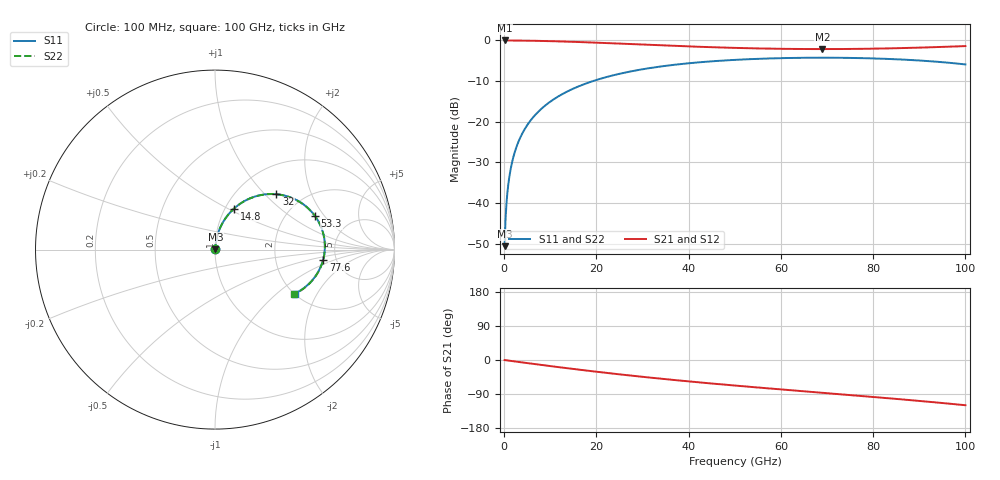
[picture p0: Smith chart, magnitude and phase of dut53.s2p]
! Touchstone file exported from HFSS 2026.1.0
!  File:  C:/ffzhzh/LocalFiles/Ansys_Project_Files/temp_train_RDL_53_1783498350_55944.aedt
!  Generated:  04:13:37 PM Jul  8, 2026
!  Design:  RDL
!  Project:  temp_train_RDL_53_1783498350_55944
! Variables:
!  h_bsmrdl = 2um
!  h_ox = 20um
!  h_rdl = 5um
!  h_sub = 80um
!  h_tmrdl = 3.14um
!  h_tsv = 80um
!  h_via = 3um
!  l_bsmrdl = 300um
!  l_sub = 794.93um
!  l_tmrdl = 394.93um
!  m_sub = 200um
!  pitch = 57.07um
!  r_tsv = 6um
!  s_tmrdl = 10um
!  w_bsmrdl = 18um
!  w_sub = 500um
!  w_tmrdl = 22.53um
!  x_tsv_center1 = 406.195um
!  x_tsv_center2 = 724.195um
!  x_tsv_center3 = 1141.655um
!  x_tsv_center4 = 1459.655um
!  x_tsv_center5 = 1877.115um
!  x_tsv_center6 = 2195.115um
# GHz S MA R 50.000000
! Terminal data exported
! Port[1] = TM_RDL1_1_T1
! Port[2] = TM_RDL1_1_T2
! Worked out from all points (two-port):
!   1000 points, 100 MHz to 100 GHz, reference 50 ohm
!   highest |S21| = -0.02 dB at 100 MHz (marker M1); lowest = -2.1 dB at 69 GHz (marker M2)
!   |S21| within 3 dB of the highest: start of sweep to end of sweep
!   lowest |S11| = -50.6 dB at 100 MHz (marker M3), VSWR 1.01, Z = 50.2 + j0.199 ohm
!   |S11| at or under -10 dB: start of sweep to 19.25 GHz
!   |S22| runs from -50.6 to -4.3 dB; largest |S21 - S12| = 1.5e-14
!   S11 on the Smith chart (normalised r, x): 100 MHz: 1.00, +0.00; 14.8 GHz: 1.10, +0.54; 32 GHz: 1.49, +1.17; 53.3 GHz: 2.84, +1.62; 77.6 GHz: 3.93, -0.70; 100 GHz: 2.01, -1.33
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0.1  0.002962 41.9  0.9978 -0.2  0.9978 -0.2  0.002962 41.9
! Gamma 0 0 0 0
! Port Impedance 50 0 50 0
0.4  0.008067 71.4  0.9975 -0.7  0.9975 -0.7  0.008067 71.4
0.8  0.01521 78.4  0.9972 -1.3  0.9972 -1.3  0.01521 78.4
1.3  0.02423 81.1  0.9969 -2.1  0.9969 -2.1  0.02423 81.1
1.8  0.0333 82.0  0.9965 -3.0  0.9965 -3.0  0.0333 82.0
2.3  0.04237 82.1  0.9961 -3.8  0.9961 -3.8  0.04238 82.1
3.6  0.06588 81.2  0.9945 -5.9  0.9945 -5.9  0.06588 81.2
5.5  0.09974 78.8  0.991 -8.9  0.991 -8.9  0.09975 78.8
7.9  0.1414 75.3  0.9851 -12.8  0.9851 -12.8  0.1414 75.3
11  0.193 70.7  0.9753 -17.6  0.9753 -17.6  0.193 70.6
14.8  0.2525 65.1  0.9607 -23.4  0.9607 -23.4  0.2525 65.1
16.8  0.2819 62.2  0.9521 -26.3  0.9521 -26.3  0.2819 62.2
23.6  0.3719 52.8  0.9201 -35.9  0.9201 -35.9  0.3719 52.8
32  0.4606 42.1  0.8789 -46.9  0.8789 -46.9  0.4606 42.0
33.4  0.4731 40.4  0.8723 -48.6  0.8723 -48.6  0.4731 40.3
50.1  0.5765 21.8  0.8083 -67.5  0.8083 -67.5  0.5766 21.7
53.3  0.5881 18.5  0.8001 -70.8  0.8001 -70.8  0.5881 18.4
66.7  0.6123 5.3  0.7821 -84.3  0.7821 -84.3  0.6123 5.1
69  0.6127 3.1  0.7817 -86.5  0.7817 -86.5  0.6128 2.9
77.6  0.6051 -5.3  0.7873 -95.1  0.7873 -95.1  0.6052 -5.5
83.4  0.5912 -11.1  0.7973 -101.0  0.7973 -101.0  0.5913 -11.3
100  0.5065 -29.0  0.851 -119.3  0.851 -119.3  0.5067 -29.3
